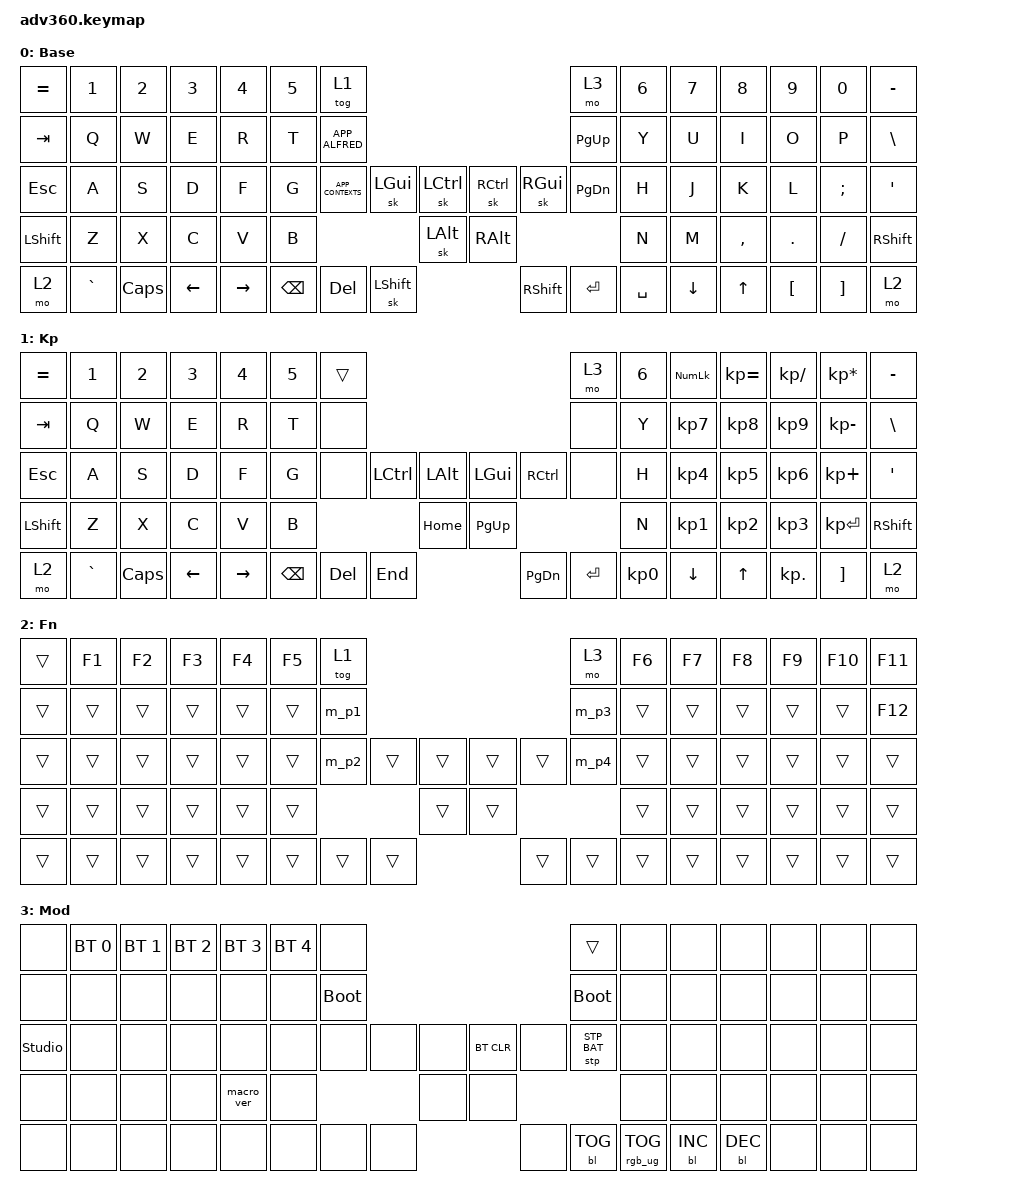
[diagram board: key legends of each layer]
#include <behaviors.dtsi>
#include <dt-bindings/zmk/keys.h>
#include <dt-bindings/zmk/bt.h>
#include <dt-bindings/zmk/rgb.h>
#include <dt-bindings/zmk/stp.h>
#include <dt-bindings/zmk/backlight.h>
#include <dt-bindings/zmk/pointing.h>

// Layers
#define DEFAULT 0
#define KEYPAD  1
#define FN      2
#define MOD     3


/ {
    behaviors {
      #include "macros.dtsi"
      #include "combos.dtsi"
      #include "private.dtsi"
      #include "key_pos.dtsi"
      #include "version.dtsi"

      hm: homerow_mods {
          compatible = "zmk,behavior-hold-tap";
          label = "HOMEROW_MODS";
          #binding-cells = <2>;
          tapping-term-ms = <200>;
          quick-tap-ms = <175>;
          flavor = "tap-preferred";
          bindings = <&kp>, <&kp>;
      };
      #define FN_MO_TOG &mo_tog FN_H FN_T
      mo_tog: behavior_mo_tog {
          compatible = "zmk,behavior-hold-tap";
          label = "mo_tog";
          #binding-cells = <2>;
          flavor = "hold-preferred";
          tapping-term-ms = <200>;
          bindings = <&mo>, <&tog>;
      };

    hml: homerow_mod_left {
        compatible = "zmk,behavior-hold-tap";
        label = "HOMEROW_MODS_LEFT";
        flavor = "balanced";
        #binding-cells = <2>;
        tapping-term-ms = <280>;
        quick-tap-ms = <175>;
        bindings = <&kp>, <&kp>;
        hold-trigger-key-positions = <KEYS_R THUMBS_RIGHT>;
        hold-trigger-on-release;
      };
    hmr: homerow_mod_right {
        compatible = "zmk,behavior-hold-tap";
        label = "HOMEROW_MODS_RIGHT";
        flavor = "balanced";
        #binding-cells = <2>;
        tapping-term-ms = <280>;
        quick-tap-ms = <175>;
        bindings = <&kp>, <&kp>;
        hold-trigger-key-positions = <KEYS_L THUMBS_LEFT>;
        hold-trigger-on-release;
      };

    };


  keymap {
    compatible = "zmk,keymap";

    #define APP_ALFRED    LA(SPACE)
    #define APP_CONTEXTS  LG(LS(SPACE)) 
    #define APP_THINGS    LG(LC(ESC))
    #define APP_DAY_ONE   LC(LS(D))
    #define NONE(X)       &none

    #define APP_1 &kp APP_ALFRED
    #define APP_2 &kp APP_CONTEXTS
    #define APP_3 &kp PG_UP
    #define APP_4 &kp PG_DN

    default_layer {
      display-name = "Base";
      bindings = <
        &kp EQUAL   &kp N1       &kp N2        &kp N3       &kp N4         &kp N5 &tog 1                                                            &mo 3 &kp N6 &kp N7         &kp N8       &kp N9       &kp N0         &kp MINUS
        &kp TAB     &kp Q        &kp W         &kp E        &kp R          &kp T  APP_1                                                             APP_3 &kp Y  &kp U          &kp I        &kp O        &kp P          &kp BSLH
        // &kp ESC     &hml LGUI A  &hml LCTRL S  &hml LALT D  &hml LSHIFT F  &kp G  APP_2           &sk LGUI  &sk LCTRL &sk RALT &sk RGUI             APP_4 &kp H  &hmr RSHIFT J  &hmr RALT K  &hmr RCTRL L &hmr RGUI SEMI &kp SQT
        &kp ESC     &kp A        &kp S         &kp D        &kp F          &kp G  APP_2           &sk LGUI  &sk LCTRL &sk RCTRL &sk RGUI            APP_4 &kp H  &kp J          &kp K        &kp L        &kp SEMI       &kp SQT
        &kp LSHFT   &kp Z        &kp X         &kp C        &kp V          &kp B                            &sk LALT  &kp RALT                            &kp N  &kp M          &kp COMMA    &kp DOT      &kp FSLH       &kp RSHFT
        &mo 2       &kp GRAVE    &kp CAPS      &kp LEFT     &kp RIGHT                    &kp BSPC &kp DEL   &sk LSHFT &kp RSHFT &kp ENTER &kp SPACE              &kp DOWN       &kp UP       &kp LBKT     &kp RBKT       &mo 2
      >;
    };
    keypad {
      display-name = "Kp";
      bindings = <
        &kp EQUAL &kp N1    &kp N2   &kp N3   &kp N4     &kp N5 &trans                                                           &mo 3 &kp N6 &kp KP_NUM &kp KP_EQUAL &kp KP_DIVIDE &kp KP_MULTIPLY &kp MINUS
        &kp TAB   &kp Q     &kp W    &kp E    &kp R      &kp T  &none                                                            &none &kp Y  &kp KP_N7  &kp KP_N8    &kp KP_N9     &kp KP_MINUS    &kp BSLH
        &kp ESC   &kp A     &kp S    &kp D    &kp F      &kp G  &none           &kp LCTRL &kp LALT &kp LGUI  &kp RCTRL           &none &kp H  &kp KP_N4  &kp KP_N5    &kp KP_N6     &kp KP_PLUS     &kp SQT
        &kp LSHFT &kp Z     &kp X    &kp C    &kp V      &kp B                            &kp HOME &kp PG_UP                           &kp N  &kp KP_N1  &kp KP_N2    &kp KP_N3     &kp KP_ENTER    &kp RSHFT
        &mo 2     &kp GRAVE &kp CAPS &kp LEFT &kp RIGHT                &kp BSPC &kp DEL   &kp END  &kp PG_DN &kp ENTER &kp KP_N0              &kp DOWN   &kp UP       &kp KP_DOT    &kp RBKT        &mo 2
      >;
    };
    fn {
      display-name = "Fn";
      bindings = <
        &trans &kp F1 &kp F2 &kp F3 &kp F4 &kp F5 &tog 1                                           &mo 3 &kp F6 &kp F7 &kp F8 &kp F9  &kp F10 &kp F11
        &trans &trans &trans &trans &trans &trans  &m_p1                                           &m_p3 &trans &trans &trans &trans  &trans  &kp F12
        &trans &trans &trans &trans &trans &trans  &m_p2        &trans &trans &trans &trans        &m_p4 &trans &trans &trans &trans  &trans  &trans
        &trans &trans &trans &trans &trans &trans                      &trans &trans                     &trans &trans &trans &trans  &trans  &trans
        &trans &trans &trans &trans &trans               &trans &trans &trans &trans &trans &trans              &trans &trans &trans  &trans  &trans
      >;
    };
    mod {
      display-name = "Mod";
      bindings = <
        &none &bt BT_SEL 0 &bt BT_SEL 1 &bt BT_SEL 2 &bt BT_SEL 3 &bt BT_SEL 4 &none                                                                     &trans                 &none        &none        &none        &none &none &none
        &none &none        &none        &none        &none        &none        &bootloader                                                               &bootloader            &none        &none        &none        &none &none &none
        &studio_unlock &none        &none        &none        &none        &none        &none                   &none &none &bt BT_CLR &none                      &stp STP_BAT &none        &none        &none        &none &none &none
        &none &none        &none        &none        &macro_ver   &none                                      &none &none                                                        &none        &none        &none        &none &none &none
        &none &none        &none        &none        &none                                       &none &none &none &none      &bl BL_TOG &rgb_ug RGB_TOG                                     &bl BL_INC   &bl BL_DEC   &none &none &none
      >;
    };
    extra1 { 
      display-name = "Red";    
      status = "reserved";
    };

    extra2 { 
      display-name = "Purple";    
      status = "reserved";
    };

    extra3 { 
      display-name = "Cyan";    
      status = "reserved";
    };

    extra4 { 
      display-name = "Yellow";    
      status = "reserved";
    };
  };
};

// vim:ft=dts
